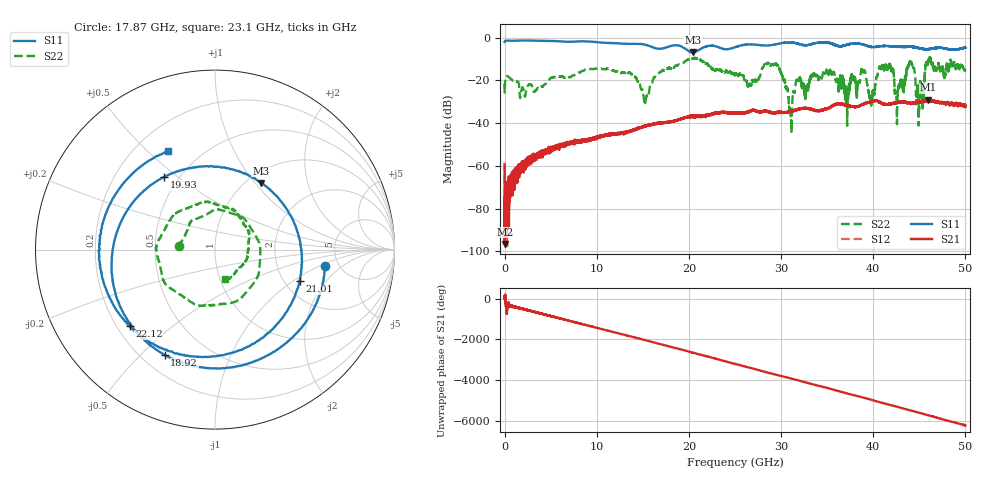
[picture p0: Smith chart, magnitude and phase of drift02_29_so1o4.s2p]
!Created with skrf (http://scikit-rf.org).
# Hz S RI R 50.0
!freq ReS11 ImS11 ReS21 ImS21 ReS12 ImS12 ReS22 ImS22
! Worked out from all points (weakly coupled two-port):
!   10001 points, 300 kHz to 50 GHz, reference 50 ohm
!   highest |S21| = -29.06 dB at 45.99 GHz (marker M1); lowest = -96.5 dB at 45.3 MHz (marker M2)
!   lowest |S11| = -6.9 dB at 20.43 GHz (marker M3), VSWR 2.64, Z = 57.4 + j53.6 ohm
!   |S11| at or under -10 dB: nowhere
!   |S22| runs from -44.1 to -8.8 dB; largest |S21 - S12| = 0.0034
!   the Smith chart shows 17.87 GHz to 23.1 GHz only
!   S11 on the Smith chart (normalised r, x): 17.87 GHz: 3.89, -1.17; 18.92 GHz: 0.29, -0.59; 19.93 GHz: 0.42, +0.45; 21.01 GHz: 2.41, -1.13; 22.12 GHz: 0.25, -0.36; 23.1 GHz: 0.33, +0.58
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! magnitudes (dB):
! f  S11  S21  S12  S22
! 300 kHz  -2.1  -59.7  -58.4  -21.7
! 45.3 MHz  -1.7  -96.5  -82.1  -21.0
! 8.335 GHz  -1.7  -48.4  -48.4  -15.7
! 15.32 GHz  -3.4  -41.2  -41.3  -29.2
! 16.67 GHz  -5.2  -40.1  -40.0  -16.9
! 17.87 GHz  -4.2  -39.5  -39.6  -14.0
! 18.92 GHz  -3.7  -38.3  -38.4  -12.5
! 19.93 GHz  -6.1  -37.0  -37.0  -10.1
! 20.43 GHz  -6.9  -37.2  -36.9  -10.0
! 21.01 GHz  -6.0  -36.5  -36.6  -9.8
! 22.12 GHz  -3.9  -36.4  -36.3  -13.0
! 23.1 GHz  -4.3  -35.1  -35.2  -15.1
! 25 GHz  -4.5  -35.2  -35.5  -17.6
! 29.5 GHz  -3.1  -35.0  -35.2  -12.6
! 31.04 GHz  -2.3  -34.5  -34.6  -34.4
! 33.34 GHz  -3.0  -33.6  -33.5  -17.8
! 38.91 GHz  -3.2  -31.3  -31.1  -16.1
! 39.74 GHz  -4.3  -30.1  -30.1  -29.6
! 41.67 GHz  -4.0  -31.0  -31.1  -13.4
! 45.15 GHz  -5.1  -29.9  -30.2  -20.7
! 45.99 GHz  -5.4  -29.1  -29.2  -10.7
! 50 GHz  -4.7  -32.5  -31.6  -15.7
